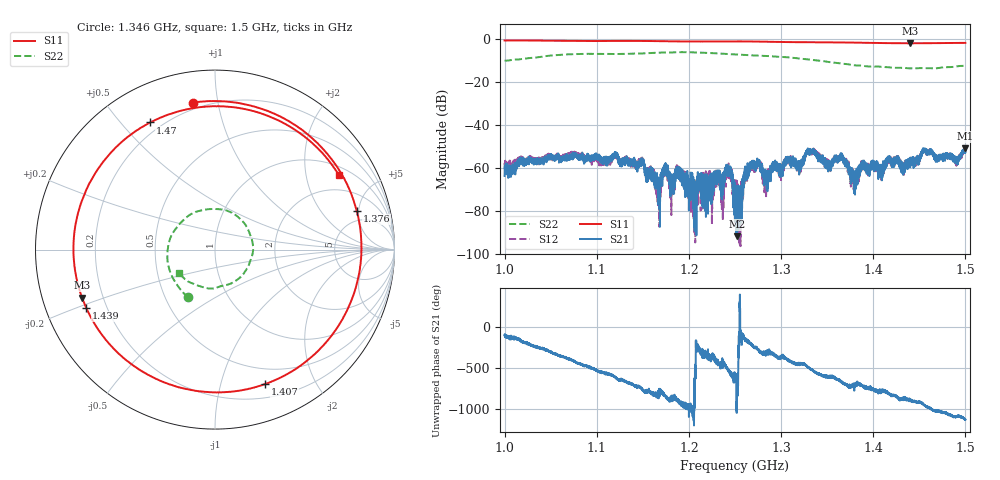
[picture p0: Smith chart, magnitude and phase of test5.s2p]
!Keysight Technologies N9923A: A.08.15
!Date: Friday, 16 February 2024 21:28:47
!Timezone: (GMT-05:00) Eastern Time (US & Canada)
!Model: N9923A
!Serial: MY52412730
!GPS Latitude:
!GPS Longitude:
!GPS TimeStamp: 0001-01-01 00:00:00Z
!GPS Seconds Since Last Read: 0
!CHECKSUM:1818027876
!Correction: S11(ON Q)S21(ON Q)S12(ON Q)S22(ON Q)
!S2P File: Measurements:S11,S21,S12,S22:
# Hz S DB R 50
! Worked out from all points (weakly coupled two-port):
!   10001 points, 1 GHz to 1.5 GHz, reference 50 ohm
!   highest |S21| = -50.80 dB at 1.5 GHz (marker M1); lowest = -91.7 dB at 1.252 GHz (marker M2)
!   lowest |S11| = -2.1 dB at 1.44 GHz (marker M3), VSWR 8.40, Z = 6.14 - j8.66 ohm
!   |S11| at or under -10 dB: nowhere
!   |S22| runs from -13.8 to -6.2 dB; largest |S21 - S12| = 0.00081
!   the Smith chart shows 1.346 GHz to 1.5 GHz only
!   S11 on the Smith chart (normalised r, x): 1.346 GHz: 0.16, +0.85; 1.376 GHz: 3.63, +4.76; 1.407 GHz: 0.33, -1.39; 1.439 GHz: 0.12, -0.21; 1.47 GHz: 0.16, +0.60; 1.5 GHz: 1.32, +3.11
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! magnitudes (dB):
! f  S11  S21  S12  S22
! 1 GHz  -0.8  -63.6  -58.7  -10.2
! 1.083 GHz  -1.0  -55.6  -54.3  -7.0
! 1.149 GHz  -1.0  -56.8  -55.9  -6.8
! 1.167 GHz  -1.1  -67.2  -70.4  -6.5
! 1.173 GHz  -1.1  -60.4  -61.5  -6.4
! 1.206 GHz  -1.3  -75.7  -75.7  -6.3
! 1.243 GHz  -1.2  -61.2  -60.8  -7.1
! 1.25 GHz  -1.2  -77.0  -68.5  -7.2
! 1.252 GHz  -1.2  -91.7  -73.2  -7.2
! 1.268 GHz  -1.2  -59.4  -57.8  -7.7
! 1.283 GHz  -1.3  -67.3  -65.2  -8.0
! 1.333 GHz  -1.6  -52.7  -51.9  -9.8
! 1.346 GHz  -1.6  -56.8  -57.5  -10.3
! 1.376 GHz  -1.7  -61.9  -68.6  -12.0
! 1.407 GHz  -1.9  -62.9  -59.8  -12.9
! 1.417 GHz  -2.0  -54.9  -56.4  -13.2
! 1.439 GHz  -2.1  -56.2  -57.0  -13.7
! 1.44 GHz  -2.1  -55.1  -56.1  -13.7
! 1.47 GHz  -2.0  -55.2  -56.2  -13.7
! 1.5 GHz  -1.9  -50.8  -51.3  -12.5
! 1.5 GHz  -1.9  -51.4  -51.5  -12.5
! 1.5 GHz  -1.9  -51.6  -51.7  -12.5
